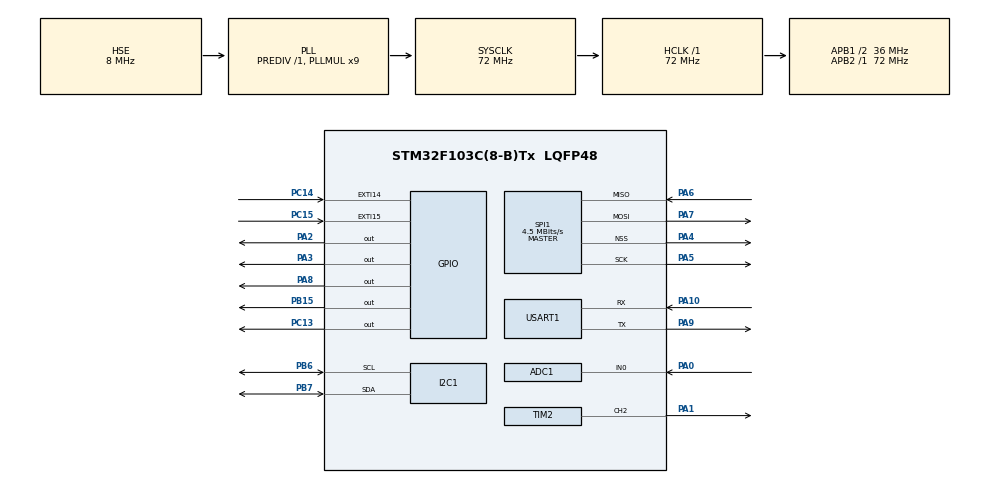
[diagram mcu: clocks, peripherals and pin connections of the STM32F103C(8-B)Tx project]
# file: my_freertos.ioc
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ADC1.Channel-2\#ChannelRegularConversion=ADC_CHANNEL_0
ADC1.ExternalTrigConv=ADC_SOFTWARE_START
ADC1.NbrOfConversionFlag=1
ADC1.Rank-2\#ChannelRegularConversion=1
ADC1.SamplingTime-2\#ChannelRegularConversion=ADC_SAMPLETIME_55CYCLES_5
ADC1.master=1
Dma.Request0=USART1_RX
Dma.USART1_RX.0.Direction=DMA_PERIPH_TO_MEMORY
Dma.USART1_RX.0.Instance=DMA1_Channel5
Dma.USART1_RX.0.MemDataAlignment=DMA_MDATAALIGN_BYTE
Dma.USART1_RX.0.MemInc=DMA_MINC_ENABLE
Dma.USART1_RX.0.Mode=DMA_CIRCULAR
Dma.USART1_RX.0.PeriphDataAlignment=DMA_PDATAALIGN_BYTE
Dma.USART1_RX.0.PeriphInc=DMA_PINC_DISABLE
Dma.USART1_RX.0.Priority=DMA_PRIORITY_LOW
FREERTOS.Tasks01=defaultTask,24,128,StartDefaultTask,Default,NULL,Dynamic,NULL,NULL
Mcu.Family=STM32F1
Mcu.Name=STM32F103C(8-B)Tx
Mcu.Package=LQFP48
NVIC.DMA1_Channel5_IRQn=true\:5\:0\:false\:false\:true\:true\:false\:true\:true
NVIC.EXTI15_10_IRQn=true\:5\:0\:true\:true\:true\:2\:true\:true\:true\:true
NVIC.PriorityGroup=NVIC_PRIORITYGROUP_4
NVIC.TIM2_IRQn=true\:5\:0\:false\:true\:true\:1\:true\:true\:true\:true
NVIC.TIM4_IRQn=true\:15\:0\:false\:false\:true\:false\:false\:true\:true
NVIC.TimeBase=TIM4_IRQn
NVIC.TimeBaseIP=TIM4
NVIC.USART1_IRQn=true\:5\:0\:false\:false\:true\:true\:true\:true\:true
PA0-WKUP.Signal=ADCx_IN0
PA1.Signal=S_TIM2_CH2
PA10.Mode=Asynchronous
PA10.Signal=USART1_RX
PA13.Mode=Serial_Wire
PA13.Signal=SYS_JTMS-SWDIO
PA14.Mode=Serial_Wire
PA14.Signal=SYS_JTCK-SWCLK
PA2.Signal=GPIO_Output
PA3.Signal=GPIO_Output
PA4.Mode=NSS_Signal_Hard_Output
PA4.Signal=SPI1_NSS
PA5.Mode=Full_Duplex_Master
PA5.Signal=SPI1_SCK
PA6.Mode=Full_Duplex_Master
PA6.Signal=SPI1_MISO
PA7.Mode=Full_Duplex_Master
PA7.Signal=SPI1_MOSI
PA8.PinState=GPIO_PIN_SET
PA8.Signal=GPIO_Output
PA9.Mode=Asynchronous
PA9.Signal=USART1_TX
PB15.Signal=GPIO_Output
PB6.Mode=I2C
PB6.Signal=I2C1_SCL
PB7.Mode=I2C
PB7.Signal=I2C1_SDA
PC13-TAMPER-RTC.Signal=GPIO_Output
PC14-OSC32_IN.GPIO_ModeDefaultEXTI=GPIO_MODE_IT_RISING_FALLING
PC14-OSC32_IN.GPIO_PuPd=GPIO_PULLUP
PC14-OSC32_IN.Signal=GPXTI14
PC15-OSC32_OUT.GPIO_ModeDefaultEXTI=GPIO_MODE_IT_RISING_FALLING
PC15-OSC32_OUT.GPIO_PuPd=GPIO_PULLUP
PC15-OSC32_OUT.Signal=GPXTI15
PD0-OSC_IN.Mode=HSE-External-Oscillator
PD0-OSC_IN.Signal=RCC_OSC_IN
PD1-OSC_OUT.Mode=HSE-External-Oscillator
PD1-OSC_OUT.Signal=RCC_OSC_OUT
ProjectManager.HeapSize=0x200
ProjectManager.StackSize=0x400
ProjectManager.TargetToolchain=MDK-ARM V5.32
RCC.ADCPresc=RCC_ADCPCLK2_DIV6
RCC.AHBFreq_Value=72000000
RCC.APB1CLKDivider=RCC_HCLK_DIV2
RCC.APB1Freq_Value=36000000
RCC.APB1TimFreq_Value=72000000
RCC.APB2Freq_Value=72000000
RCC.APB2TimFreq_Value=72000000
RCC.HCLKFreq_Value=72000000
RCC.PLLMUL=RCC_PLL_MUL9
RCC.PLLSourceVirtual=RCC_PLLSOURCE_HSE
RCC.SYSCLKFreq_VALUE=72000000
RCC.SYSCLKSource=RCC_SYSCLKSOURCE_PLLCLK
RCC.USBFreq_Value=72000000
SH.ADCx_IN0.0=ADC1_IN0,IN0
SH.S_TIM2_CH2.0=TIM2_CH2,PWM Generation2 CH2
SPI1.BaudRatePrescaler=SPI_BAUDRATEPRESCALER_16
SPI1.CalculateBaudRate=4.5 MBits/s
SPI1.Direction=SPI_DIRECTION_2LINES
SPI1.Mode=SPI_MODE_MASTER
SPI1.VirtualNSS=VM_NSSHARD
SPI1.VirtualType=VM_MASTER
TIM2.Channel-PWM\ Generation2\ CH2=TIM_CHANNEL_2
TIM2.Period=99
TIM2.Prescaler=71
USART1.VirtualMode=VM_ASYNC
VP_FREERTOS_VS_CMSIS_V2.Mode=CMSIS_V2
VP_SYS_VS_tim4.Mode=TIM4
VP_TIM2_VS_ClockSourceINT.Mode=Internal
board=custom

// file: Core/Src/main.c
/* USER CODE BEGIN Header */
/**
  ******************************************************************************
  * @file           : main.c
  * @brief          : Main program body
  ******************************************************************************
  * @attention
  *
  * Copyright (c) 2025 STMicroelectronics.
  * All rights reserved.
  *
  * This software is licensed under terms that can be found in the LICENSE file
  * in the root directory of this software component.
  * If no LICENSE file comes with this software, it is provided AS-IS.
  *
  ******************************************************************************
  */
/* USER CODE END Header */
#include "main.h"
#include "cmsis_os.h"
#include "adc.h"
#include "dma.h"
#include "i2c.h"
#include "spi.h"
#include "tim.h"
#include "usart.h"
#include "gpio.h"

/* USER CODE BEGIN Includes */
#include "driver_oled.h"
/* USER CODE END Includes */

void SystemClock_Config(void);
void MX_FREERTOS_Init(void);
static void MX_NVIC_Init(void);

int main(void)
{

  /* MCU Configuration--------------------------------------------------------*/

  /* Reset of all peripherals, Initializes the Flash interface and the Systick. */
  HAL_Init();

  /* Configure the system clock */
  SystemClock_Config();

  /* Initialize all configured peripherals */
  MX_GPIO_Init();
  MX_DMA_Init();
  MX_I2C1_Init();
  MX_TIM2_Init();
  MX_ADC1_Init();
  MX_SPI1_Init();
  MX_USART1_UART_Init();

  /* Initialize interrupts */
  MX_NVIC_Init();
  /* USER CODE BEGIN 2 */
  OLED_Init();
  OLED_Clear();
  OLED_PrintString(0,0,"System Booting...");
  /* USER CODE END 2 */

  /* Init scheduler */
  osKernelInitialize();  /* Call init function for freertos objects (in cmsis_os2.c) */
  MX_FREERTOS_Init();

  /* Start scheduler */
  osKernelStart();

  /* We should never get here as control is now taken by the scheduler */

  /* Infinite loop */
  while (1)
  {

  }
}

void SystemClock_Config(void)
{
  RCC_OscInitTypeDef RCC_OscInitStruct = {0};
  RCC_ClkInitTypeDef RCC_ClkInitStruct = {0};
  RCC_PeriphCLKInitTypeDef PeriphClkInit = {0};

  /** Initializes the RCC Oscillators according to the specified parameters
  * in the RCC_OscInitTypeDef structure.
  */
  RCC_OscInitStruct.OscillatorType = RCC_OSCILLATORTYPE_HSE;
  RCC_OscInitStruct.HSEState = RCC_HSE_ON;
  RCC_OscInitStruct.HSEPredivValue = RCC_HSE_PREDIV_DIV1;
  RCC_OscInitStruct.HSIState = RCC_HSI_ON;
  RCC_OscInitStruct.PLL.PLLState = RCC_PLL_ON;
  RCC_OscInitStruct.PLL.PLLSource = RCC_PLLSOURCE_HSE;
  RCC_OscInitStruct.PLL.PLLMUL = RCC_PLL_MUL9;
  if (HAL_RCC_OscConfig(&RCC_OscInitStruct) != HAL_OK)
  {
    Error_Handler();
  }

  /** Initializes the CPU, AHB and APB buses clocks
  */
  RCC_ClkInitStruct.ClockType = RCC_CLOCKTYPE_HCLK|RCC_CLOCKTYPE_SYSCLK
                              |RCC_CLOCKTYPE_PCLK1|RCC_CLOCKTYPE_PCLK2;
  RCC_ClkInitStruct.SYSCLKSource = RCC_SYSCLKSOURCE_PLLCLK;
  RCC_ClkInitStruct.AHBCLKDivider = RCC_SYSCLK_DIV1;
  RCC_ClkInitStruct.APB1CLKDivider = RCC_HCLK_DIV2;
  RCC_ClkInitStruct.APB2CLKDivider = RCC_HCLK_DIV1;

  if (HAL_RCC_ClockConfig(&RCC_ClkInitStruct, FLASH_LATENCY_2) != HAL_OK)
  {
    Error_Handler();
  }
  PeriphClkInit.PeriphClockSelection = RCC_PERIPHCLK_ADC;
  PeriphClkInit.AdcClockSelection = RCC_ADCPCLK2_DIV6;
  if (HAL_RCCEx_PeriphCLKConfig(&PeriphClkInit) != HAL_OK)
  {
    Error_Handler();
  }
}

/**
  * @brief NVIC Configuration.
  * @retval None
  */
static void MX_NVIC_Init(void)
{
  /* TIM2_IRQn interrupt configuration */
  HAL_NVIC_SetPriority(TIM2_IRQn, 5, 0);
  HAL_NVIC_EnableIRQ(TIM2_IRQn);
  /* EXTI15_10_IRQn interrupt configuration */
  HAL_NVIC_SetPriority(EXTI15_10_IRQn, 5, 0);
  HAL_NVIC_EnableIRQ(EXTI15_10_IRQn);
}

void HAL_TIM_PeriodElapsedCallback(TIM_HandleTypeDef *htim)
{
  if (htim->Instance == TIM4)
  {
    HAL_IncTick();
  }
}

void Error_Handler(void)
{
  __disable_irq();
  while (1)
  {
  }
}

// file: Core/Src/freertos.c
/* USER CODE BEGIN Header */
/**
  ******************************************************************************
  * File Name          : freertos.c
  * Description        : Code for freertos applications
  ******************************************************************************
  * @attention
  *
  * Copyright (c) 2025 STMicroelectronics.
  * All rights reserved.
  *
  * This software is licensed under terms that can be found in the LICENSE file
  * in the root directory of this software component.
  * If no LICENSE file comes with this software, it is provided AS-IS.
  *
  ******************************************************************************
  */
/* USER CODE END Header */

#include "FreeRTOS.h"
#include "task.h"
#include "main.h"
#include "cmsis_os.h"

/* USER CODE BEGIN Includes */
#include "queue.h"
#include "event_groups.h"
#include "semphr.h"

#include "driver_led.h"
#include "driver_key.h"
#include "driver_dht11.h"
#include "driver_light_sensor.h"
#include "driver_oled.h"
#include "driver_motor.h"
#include "esp8266.h"
#include <stdio.h>
/* USER CODE END Includes */

/* USER CODE BEGIN PTD */

// 定义一个枚举类型用于区分传感器数据的类型
typedef enum
{
  data_type_dht11,
  data_type_light
}data_type;

// 定义一个联合体用于存储不同类型的传感器数据
typedef struct
{
  data_type type;
  union{
    dht11_result dht;
    light_data light;
  }all_data;
}sensor_data;

typedef struct {
    char topic[16];   // 主题，例如 "temp", "humi", "light", "led", "fan"
    char payload[16]; // 数据负载，例如 "25.0", "on", "1"
} post_msg_t;
/* USER CODE END PTD */

/* USER CODE BEGIN PD */
#define Queue_Length    5               // 传感器数据队列长度
#define Queue_Timeout   100             // 发送数据到队列的超时时间（ms）

#define Event_Light_Turn  (1UL << 0)    // 事件组位：LED状态切换事件
#define Event_Light_On    (1UL << 1)    // 事件组位：LED开事件
#define Event_Light_Off   (1UL << 2)    // 事件组位：LED关事件

TaskHandle_t ledTaskHandle;
TaskHandle_t SensorTaskHandle;
TaskHandle_t DisplayTaskHandle;
TaskHandle_t KeyTaskHandle;
TaskHandle_t ControlLedTaskHandle = NULL;
TaskHandle_t ControlFanTaskHandle = NULL;
TaskHandle_t ConnectWifiTaskHandle = NULL;
TaskHandle_t FanTaskHandle = NULL;
TaskHandle_t PostTaskHandle = NULL;
/* USER CODE END PD */

/* USER CODE BEGIN Variables */
QueueHandle_t Sensor_Queue;           // 传感器数据队列句柄
QueueHandle_t Key_Queueset;           // 按键事件队列集句柄
QueueHandle_t Post_Queue = NULL;      // 新增上报数据队列

SemaphoreHandle_t Key1_Semaphore;     // 按键1信号量
SemaphoreHandle_t Key2_Semaphore;     // 按键2信号量
SemaphoreHandle_t Esp_RxSem;          // ESP8266接收信号量
SemaphoreHandle_t Post_Mutex;         // 上传数据互斥量

EventGroupHandle_t Light_EventGroup;  // LED事件组句柄，用于控制LED状态切换、开、关事件
/* USER CODE END Variables */
/* Definitions for defaultTask */
osThreadId_t defaultTaskHandle;
const osThreadAttr_t defaultTask_attributes = {
  .name = "defaultTask",
  .stack_size = 128 * 4,
  .priority = (osPriority_t) osPriorityNormal,
};

/* USER CODE BEGIN FunctionPrototypes */
void LED_Task(void *pvParameters);
void Sensor_Task(void *pvParameters);
void Display_Task(void *pvParameters);
void Key_Task(void *pvParameters);
void Control_Led_Task(void *pvParameters);
void Control_Fan_Task(void *pvParameters);
void Connect_Wifi_Task(void *pvParameters);
void Fan_Task(void *pvParameters);
void Post_Task(void *pvParameters);
/* USER CODE END FunctionPrototypes */

void StartDefaultTask(void *argument);

void MX_FREERTOS_Init(void); /* (MISRA C 2004 rule 8.1) */

void MX_FREERTOS_Init(void) {

  /* USER CODE BEGIN RTOS_SEMAPHORES */
  /* add semaphores, ... */
  Key1_Semaphore = xSemaphoreCreateBinary();
  Key2_Semaphore = xSemaphoreCreateBinary();
  Esp_RxSem = xSemaphoreCreateBinary();
  Post_Mutex = xSemaphoreCreateMutex();
  /* USER CODE END RTOS_SEMAPHORES */

  /* USER CODE BEGIN RTOS_QUEUES */
  /* add queues, ... */
  Sensor_Queue = xQueueCreate(Queue_Length,sizeof(sensor_data));
  Key_Queueset = xQueueCreateSet(2);
  xQueueAddToSet(Key1_Semaphore,Key_Queueset);
  xQueueAddToSet(Key2_Semaphore,Key_Queueset);

  Post_Queue = xQueueCreate(10, sizeof(post_msg_t));
  /* USER CODE END RTOS_QUEUES */

  /* Create the thread(s) */
  /* creation of defaultTask */
  defaultTaskHandle = osThreadNew(StartDefaultTask, NULL, &defaultTask_attributes);

  /* USER CODE BEGIN RTOS_EVENTS */
  /* add events, ... */
  Light_EventGroup = xEventGroupCreate();
  /* USER CODE END RTOS_EVENTS */

}

void StartDefaultTask(void *argument)
{
  /* USER CODE BEGIN StartDefaultTask */
	BaseType_t xResult;
	xTaskCreate((TaskFunction_t)LED_Task,
            (const char* )"LED_Task",
            (uint16_t )128,
            (void* )NULL,
            (UBaseType_t )1,
            (TaskHandle_t* )&ledTaskHandle);
  xTaskCreate((TaskFunction_t)Sensor_Task,
            (const char* )"Sensor_Task",
            (uint16_t )128,
            (void* )NULL,
            (UBaseType_t )4,
            (TaskHandle_t* )&SensorTaskHandle);
	xTaskCreate((TaskFunction_t)Display_Task,
            (const char* )"Display_Task",
            (uint16_t )128,
            (void* )NULL,
            (UBaseType_t )3,
            (TaskHandle_t* )&DisplayTaskHandle);
  xTaskCreate((TaskFunction_t)Key_Task,
            (const char* )"Key_Task",
            (uint16_t )128,
            (void* )NULL,
            (UBaseType_t )5,
            (TaskHandle_t* )&KeyTaskHandle);
  xTaskCreate((TaskFunction_t)Control_Led_Task,
            (const char* )"Control_Led_Task",
            (uint16_t )128,
            (void* )NULL,
            (UBaseType_t )5,
            (TaskHandle_t* )&ControlLedTaskHandle);
  xTaskCreate((TaskFunction_t)Control_Fan_Task,
            (const char* )"Control_Fan_Task",
            (uint16_t )128,
            (void* )NULL,
            (UBaseType_t )5,
            (TaskHandle_t* )&ControlFanTaskHandle);
  xTaskCreate((TaskFunction_t)Fan_Task,
            (const char* )"Fan_Task",
            (uint16_t )128,
            (void* )NULL,
            (UBaseType_t )5,
            (TaskHandle_t* )&FanTaskHandle);
  xTaskCreate((TaskFunction_t)Post_Task,
            (const char* )"Post_Task",
            (uint16_t )256,
            (void* )NULL,
            (UBaseType_t )4,
            (TaskHandle_t* )&PostTaskHandle);
  xResult = xTaskCreate((TaskFunction_t)Connect_Wifi_Task,
            (const char* )"Connect_Wifi_Task",
            (uint16_t )256,
            (void* )NULL,
            (UBaseType_t )6,
            (TaskHandle_t* )&ConnectWifiTaskHandle);
  if(xResult != pdPASS)
  {
    OLED_PrintString(0,6,"Task Failed!");
  }
  vTaskDelete(NULL);
  /* Infinite loop */
  for(;;)
  {
  }
  /* USER CODE END StartDefaultTask */
}

/* USER CODE BEGIN Application */

/**
  * @brief  GPIO中断回调函数，由HAL库在GPIO中断发生时调用，根据中断引脚不同释放不同的信号量
  * @param  GPIO_Pin: GPIO引脚
  * @retval 无
  */
void HAL_GPIO_EXTI_Callback(uint16_t GPIO_Pin)
{
	BaseType_t xHigherPriorityTaskWoken = pdFALSE;
	switch(GPIO_Pin)
	{
		case Key1_Pin :
			xSemaphoreGiveFromISR(Key1_Semaphore,&xHigherPriorityTaskWoken);
			break;

		case Key2_Pin :
			xSemaphoreGiveFromISR(Key2_Semaphore,&xHigherPriorityTaskWoken);
			break;
	}
  portYIELD_FROM_ISR(xHigherPriorityTaskWoken);
}

/**
  * @brief  LED任务函数，根据从事件组中获取的事件控制LED的状态
  * @param  pvParameters: 参数
  * @retval None
  */
void LED_Task(void *pvParameters)
{
    Led_Init();

    EventBits_t xbit;
    const EventBits_t AllBits = Event_Light_Turn | Event_Light_On | Event_Light_Off;
    post_msg_t msg;

    while(1)
    {
        xbit = xEventGroupWaitBits(Light_EventGroup,AllBits,pdTRUE,pdFALSE,portMAX_DELAY);

        if((xbit & Event_Light_Turn) != 0)
        {
          Led_Turn();
          snprintf(msg.topic, sizeof(msg.topic), "led");
          snprintf(msg.payload, sizeof(msg.payload), "toggle");
          xQueueSend(Post_Queue, &msg, Queue_Timeout);
        }

        if((xbit & Event_Light_On) != 0)
        {
          Led_On();
          snprintf(msg.topic, sizeof(msg.topic), "led");
          snprintf(msg.payload, sizeof(msg.payload), "on");
          xQueueSend(Post_Queue, &msg, Queue_Timeout);
        }

        if((xbit & Event_Light_Off) != 0)
        {
          Led_Off();
          snprintf(msg.topic, sizeof(msg.topic), "led");
          snprintf(msg.payload, sizeof(msg.payload), "off");
          xQueueSend(Post_Queue, &msg, Queue_Timeout);
        }
    }
}

/**
  * @brief  传感器任务函数，定时读取DHT11和光照传感器的数据，将数据发送到队列，并通过任务通知将数据发送给控制风扇和LED的任务
  * @param  pvParameters: 参数
  * @retval None
  */
void Sensor_Task(void *pvParameters)
{
  DHT11_Init();
  LightSensor_Init();

  sensor_data buf;
  dht11_result result;
  light_data pdata;
  uint32_t notify_data;
  int light_notify_data;

  while(1)
  {
    if(DHT11_Read_Result(&result) == DHT11_TRUE)
    {
        post_msg_t msg;
        buf.type = data_type_dht11;
        buf.all_data.dht = result;

        xQueueSend(Sensor_Queue,&buf,Queue_Timeout);

        snprintf(msg.topic, sizeof(msg.topic), "temp");
        snprintf(msg.payload, sizeof(msg.payload), "%.1f", buf.all_data.dht.temp);
        xQueueSend(Post_Queue, &msg, Queue_Timeout);

        snprintf(msg.topic, sizeof(msg.topic), "humi");
        snprintf(msg.payload, sizeof(msg.payload), "%.1f", buf.all_data.dht.humi);
        xQueueSend(Post_Queue, &msg, Queue_Timeout);

        if(ControlFanTaskHandle != NULL)
        {
            notify_data = (uint32_t)(result.temp * 10);
            xTaskNotify(ControlFanTaskHandle,notify_data,eSetValueWithOverwrite);
        }
    }
    if(LightSensor_Read(&pdata) == Light_OK)
    {
        post_msg_t msg;
        buf.type = data_type_light;
        buf.all_data.light = pdata;

        xQueueSend(Sensor_Queue,&buf,Queue_Timeout);

        snprintf(msg.topic, sizeof(msg.topic), "light");
        snprintf(msg.payload, sizeof(msg.payload), "%d", buf.all_data.light.data);
        xQueueSend(Post_Queue, &msg, Queue_Timeout);

        if(ControlLedTaskHandle != NULL)
        {
            light_notify_data = pdata.data;
            xTaskNotify(ControlLedTaskHandle,light_notify_data,eSetValueWithOverwrite);
        }
    }

    vTaskDelay(1000);
  }
}

/**
  * @brief  显示任务函数，从队列中接收传感器数据并在OLED上显示
  * @param  pvParameters: 参数
  * @retval None
  */
void Display_Task(void *pvParameters)
{
  OLED_Clear();

  int len,light_len;
  sensor_data buf;

  len = OLED_PrintString(0,0,"temp:");
  OLED_PrintString(0,2,"humi:");
  light_len = OLED_PrintString(0,4,"light:");

  while(1)
  {
    if(xQueueReceive(Sensor_Queue,&buf,portMAX_DELAY) == pdTRUE)
    {
      switch (buf.type)
      {
        case data_type_dht11:
          OLED_PrintFloat(len,0,buf.all_data.dht.temp,1);
          OLED_PrintFloat(len,2,buf.all_data.dht.humi,1);
          break;

        case data_type_light:
          OLED_PrintSignedVal(light_len,4,buf.all_data.light.data);
          break;
      }
    }
  }
}

/**
  * @brief  按键任务函数，处理按键输入并触发相应事件：
  *         长按第二个按键切换风扇的自动/手动模式，短按第二个按键在手动模式下切换风扇的档位，
  *         按下第一个按键触发LED状态切换事件
  * @param  pvParameters: 参数
  * @retval None
  */
void Key_Task(void *pvParameters)
{
  Key_Init();

  QueueSetMemberHandle_t Key_Member;
  uint8_t currentState, lastStateA = 1, lastStateB = 1;

  while(1)
  {
    Key_Member = xQueueSelectFromSet(Key_Queueset,portMAX_DELAY);
    if(Key_Member == Key1_Semaphore)
    {
      vTaskDelay(20);
      currentState = HAL_GPIO_ReadPin(Key_Port,Key1_Pin);
      if((currentState == 0) &&(lastStateA == 1))
      {
        xEventGroupSetBits(Light_EventGroup,Event_Light_Turn);
      }
      lastStateA = currentState;
      xSemaphoreTake(Key1_Semaphore,0);
    }else if(Key_Member == Key2_Semaphore)
    {
      vTaskDelay(20);
      currentState = HAL_GPIO_ReadPin(Key_Port,Key2_Pin);
      if((currentState == 0) &&(lastStateB == 1))
      {
          uint32_t press_start_tick = xTaskGetTickCount();
          uint32_t press_time;
          post_msg_t msg;
          while(HAL_GPIO_ReadPin(Key_Port,Key2_Pin) == 0)
          {
              vTaskDelay(10);
          }
          press_time = xTaskGetTickCount() - press_start_tick;

          if(press_time >= 2000)
          {
              Fan_SetControlMode(Fan_Auto);
              snprintf(msg.topic, sizeof(msg.topic), "fan_mode");
              snprintf(msg.payload, sizeof(msg.payload), "auto");
              xQueueSend(Post_Queue, &msg, Queue_Timeout);
          }else
          {
                Motor_Mode next_mode;
                Fan_SetControlMode(Fan_Manual);
                next_mode = Fan_GetNextMode(Fan_GetMode());
                if (FanTaskHandle != NULL)
                {
                    xTaskNotify(FanTaskHandle, (uint32_t)next_mode, eSetValueWithOverwrite);
                }
                snprintf(msg.topic, sizeof(msg.topic), "fan_mode");
                snprintf(msg.payload, sizeof(msg.payload), "manual");
                xQueueSend(Post_Queue, &msg, Queue_Timeout);
            }
        }
        lastStateB = currentState;
        xSemaphoreTake(Key2_Semaphore,0);
      }
    }
}

/**
  * @brief  控制LED任务函数，根据从任务通知中接收的数据控制LED状态
  * @param  pvParameters: 参数
  * @retval None
  */
void Control_Led_Task(void *pvParameters)
{
  const int light_low = 10;
  const int light_high = 90;
  uint32_t notify_data;
  BaseType_t Result;

  while(1)
  {
      Result = xTaskNotifyWait(0x00,0xffffffff,&notify_data,portMAX_DELAY);
      if(Result == pdTRUE)
      {
        if(notify_data < light_low)
        {
            xEventGroupSetBits(Light_EventGroup,Event_Light_Off);
        }else if(notify_data > light_high)
        {
            xEventGroupSetBits(Light_EventGroup,Event_Light_On);
        }
      }
  }

}

/**
  * @brief  控制风扇任务函数，根据从任务通知中接收的数据控制风扇状态
  * @param  pvParameters: 参数
  * @retval None
  */
void Control_Fan_Task(void *pvParameters)
{
    uint32_t notify_data;
    BaseType_t Result;
    float current_temp;

    Motor_Mode target_mode = Off_Mode;
    Motor_Mode last_target_mode = Off_Mode;
    Motor_Mode current_mode = Off_Mode;
    uint8_t filter_count = 0;

    while(1)
    {
        Result = xTaskNotifyWait(0x00,0xffffffff,&notify_data,portMAX_DELAY);
        if(Result == pdTRUE)
        {
            current_temp = notify_data / 10.0f;

            // 1. 迟滞逻辑计算理想目标档位（死区设置在 20~26 ℃）
            if (current_temp < 20.0f) {
                target_mode = Off_Mode;
            } else if (current_temp <= 26.0f) {
                if (current_mode == Off_Mode) {
                    target_mode = Off_Mode;  // 如果风扇还没开，保持关闭
                } else {
                    target_mode = Low_Mode;  // 如果风扇已在转，保持低速运转不死机
                }
            } else if (current_temp < 30.0f) {
                target_mode = Low_Mode;
            } else if (current_temp < 32.0f) {
                target_mode = Mid_Mode;
            } else {
                target_mode = Fast_Mode;
            }

            // 2. 软件时间滤波并在自动模式下执行
            if (Fan_GetControlMode() == Fan_Auto) {
                if (target_mode != current_mode) {
                    // 如果连续多次判定结果为同一目标模式，计数累加
                    if (target_mode == last_target_mode) {
                        filter_count++;
                        if (filter_count >= 5) {  // 约连续5次(5秒左右)满足条件才真正切换
                            current_mode = target_mode;
                            if (FanTaskHandle != NULL)
                            {
                                xTaskNotify(FanTaskHandle, (uint32_t)current_mode, eSetValueWithOverwrite);
                            }
                            filter_count = 0;
                        }
                    } else {
                        last_target_mode = target_mode;
                        filter_count = 1;
                    }
                } else {
                    filter_count = 0;
                }
            } else {
                // 手动模式下重置状态，此处赋一个无效值保证切回自动模式后能立即重新评估并恢复
                filter_count = 0;
                current_mode = (Motor_Mode)0xFF;
            }
        }

    }
}

void Connect_Wifi_Task(void *pvParameters)
{
    ESP8266_Init();
	extern volatile uint8_t connect_wifi_flag;
    while(MQTT_Init() != Work_Ok)
    {
        vTaskDelay(pdMS_TO_TICKS(5000));
    }
	connect_wifi_flag = 1;
    while(1)
    {
        BaseType_t Result = xTaskNotifyWait(0x00,0xffffffff,NULL,portMAX_DELAY);

        if(Result == pdTRUE)
        {
            while(MQTT_Init() != Work_Ok)
            {
                vTaskDelay(pdMS_TO_TICKS(5000));
            }

            extern volatile uint8_t connect_wifi_flag;
            connect_wifi_flag = 1;
        }
    }
}

void Fan_Task(void *pvParameters)
{
    uint32_t notify_data;
    BaseType_t Result;
    Motor_Mode target_mode;
    post_msg_t msg;

    Fan_AppInit();

    while(1)
    {
        Result = xTaskNotifyWait(0x00, 0xffffffff, &notify_data, portMAX_DELAY);
        if(Result == pdTRUE)
        {
            target_mode = (Motor_Mode)notify_data;
            Fan_SetMode(target_mode);

            snprintf(msg.topic, sizeof(msg.topic), "fan");
            snprintf(msg.payload, sizeof(msg.payload), "%d", target_mode);
            xQueueSend(Post_Queue, &msg, Queue_Timeout);
        }
    }
}

void Post_Task(void *pvParameters)
{
    post_msg_t msg;
    while(1)
    {
        if(xQueueReceive(Post_Queue, &msg, portMAX_DELAY) == pdTRUE)
        {
            xSemaphoreTake(Post_Mutex, portMAX_DELAY);
            MQTT_Post(msg.topic, msg.payload);
            xSemaphoreGive(Post_Mutex);

            vTaskDelay(pdMS_TO_TICKS(100)); // 避免云端限流
        }
    }
}
/* USER CODE END Application */
